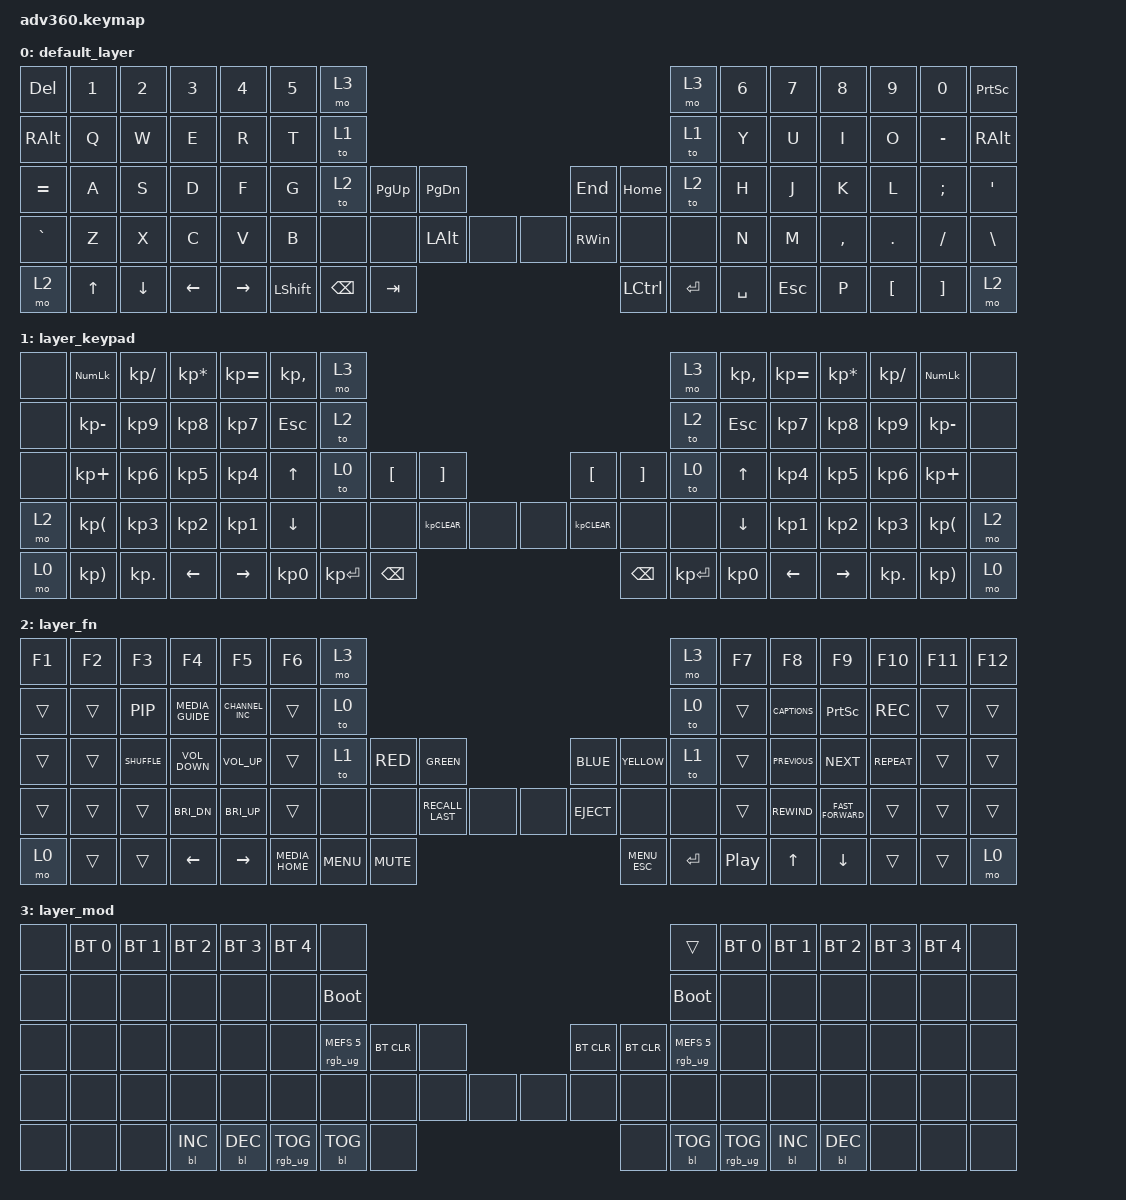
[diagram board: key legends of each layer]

/*
 * Copyright (c) 2020 The ZMK Contributors
 *
 * SPDX-License-Identifier: MIT
 */


/* THIS FILE WAS GENERATED!
 *
 * This file was generated automatically. You may or may not want to
 * edit it directly.
 */

#include <behaviors.dtsi>
#include <dt-bindings/zmk/keys.h>
#include <dt-bindings/zmk/bt.h>
#include <dt-bindings/zmk/rgb.h>
#include <dt-bindings/zmk/backlight.h>

/ {
  behaviors {
    #include "macros.dtsi"

    hm: homerow_mods {
        compatible = "zmk,behavior-hold-tap";
        label = "HOMEROW_MODS";
        #binding-cells = <2>;
        tapping-term-ms = <200>;
        quick_tap_ms = <175>;
        flavor = "tap-preferred";
        bindings = <&kp>, <&kp>;
    };
  };

    keymap {
        compatible = "zmk,keymap";


        default_layer {
            bindings = <
 &kp DELETE  &kp N1    &kp N2    &kp N3     &kp N4  &kp N5                     &mo 3                                                                               &mo 3  &kp N6      &kp N7     &kp N8    &kp N9     &kp N0   &kp PRINTSCREEN
   &kp RALT   &kp Q     &kp W     &kp E      &kp R   &kp T                     &to 1                                                                               &to 1   &kp Y       &kp U      &kp I     &kp O  &kp MINUS          &kp RALT
  &kp EQUAL   &kp A     &kp S     &kp D      &kp F   &kp G                     &to 2  &kp PAGE_UP  &kp PAGE_DOWN                           &kp END   &kp HOME      &to 2   &kp H       &kp J      &kp K     &kp L   &kp SEMI  &kp SINGLE_QUOTE
  &kp GRAVE   &kp Z     &kp X     &kp C      &kp V   &kp B                     &none        &none   &kp LEFT_ALT   &none   &none     &kp RIGHT_WIN      &none      &none   &kp N       &kp M  &kp COMMA   &kp DOT  &kp SLASH     &kp BACKSLASH
      &mo 2  &kp UP  &kp DOWN  &kp LEFT  &kp RIGHT                    &kp LEFT_SHIFT     &kp BSPC        &kp TAB                  &kp LEFT_CONTROL  &kp ENTER  &kp SPACE          &kp ESCAPE      &kp P  &kp LBKT   &kp RBKT             &mo 2
            >;
        };

        layer_keypad {
            bindings = <
  &none    &kp KP_NUM  &kp KP_SLASH  &kp KP_MULTIPLY  &kp KP_EQUAL  &kp KP_COMMA                      &mo 3                                                                                                &mo 3  &kp KP_COMMA  &kp KP_EQUAL  &kp KP_MULTIPLY  &kp KP_SLASH    &kp KP_NUM   &none
  &none  &kp KP_MINUS     &kp KP_N9        &kp KP_N8     &kp KP_N7       &kp ESC                      &to 2                                                                                                &to 2       &kp ESC     &kp KP_N7        &kp KP_N8     &kp KP_N9  &kp KP_MINUS   &none
  &none   &kp KP_PLUS     &kp KP_N6        &kp KP_N5     &kp KP_N4        &kp UP                      &to 0  &kp LEFT_BRACKET  &kp RIGHT_BRACKET                  &kp LEFT_BRACKET  &kp RIGHT_BRACKET      &to 0        &kp UP     &kp KP_N4        &kp KP_N5     &kp KP_N6   &kp KP_PLUS   &none
  &mo 2   &kp KP_LPAR     &kp KP_N3        &kp KP_N2     &kp KP_N1      &kp DOWN                      &none             &none       &kp KP_CLEAR   &none   &none      &kp KP_CLEAR              &none      &none      &kp DOWN     &kp KP_N1        &kp KP_N2     &kp KP_N3   &kp KP_LPAR   &mo 2
  &mo 0   &kp KP_RPAR    &kp KP_DOT         &kp LEFT     &kp RIGHT                          &kp KP_NUMBER_0      &kp KP_ENTER           &kp BSPC                     &kp BACKSPACE       &kp KP_ENTER  &kp KP_N0                    &kp LEFT        &kp RIGHT    &kp KP_DOT   &kp KP_RPAR   &mo 0
            >;
        };

        layer_fn {
            bindings = <
 &kp F1  &kp F2         &kp F3             &kp F4             &kp F5  &kp F6                       &mo 3                                                                                          &mo 3  &kp F7          &kp F8              &kp F9       &kp F10  &kp F11  &kp F12
 &trans  &trans      &kp C_PIP  &kp C_MEDIA_GUIDE  &kp C_CHANNEL_INC  &trans                       &to 0                                                                                          &to 0  &trans  &kp C_CAPTIONS     &kp PRINTSCREEN     &kp C_REC   &trans   &trans
 &trans  &trans  &kp C_SHUFFLE  &kp C_VOLUME_DOWN       &kp C_VOL_UP  &trans                       &to 1   &kp C_RED        &kp C_GREEN                      &kp C_BLUE  &kp C_YELLOW             &to 1  &trans  &kp C_PREVIOUS          &kp C_NEXT  &kp C_REPEAT   &trans   &trans
 &trans  &trans         &trans       &kp C_BRI_DN       &kp C_BRI_UP  &trans                       &none       &none  &kp C_RECALL_LAST   &none   &none     &kp C_EJECT         &none             &none  &trans    &kp C_REWIND  &kp C_FAST_FORWARD        &trans   &trans   &trans
  &mo 0  &trans         &trans           &kp LEFT          &kp RIGHT                    &kp C_MEDIA_HOME  &kp C_MENU         &kp C_MUTE                  &kp C_MENU_ESC     &kp ENTER  &kp C_PLAY_PAUSE                  &kp UP            &kp DOWN        &trans   &trans    &mo 0
            >;
        };

        layer_mod {
            bindings = <
  &none  &bt BT_SEL 0  &bt BT_SEL 1  &bt BT_SEL 2  &bt BT_SEL 3  &bt BT_SEL 4                             &none                                                                              &trans  &bt BT_SEL 0  &bt BT_SEL 1  &bt BT_SEL 2  &bt BT_SEL 3  &bt BT_SEL 4   &none
  &none         &none         &none         &none         &none         &none                       &bootloader                                                                         &bootloader         &none         &none         &none         &none         &none   &none
  &none         &none         &none         &none         &none         &none            &rgb_ug RGB_MEFS_CMD 5  &bt BT_CLR   &none                  &bt BT_CLR  &bt BT_CLR  &rgb_ug RGB_MEFS_CMD 5         &none         &none         &none         &none         &none   &none
  &none         &none         &none         &none         &none         &none                             &none       &none   &none   &none   &none       &none       &none                   &none         &none         &none         &none         &none         &none   &none
  &none         &none         &none    &bl BL_INC    &bl BL_DEC                                 &rgb_ug RGB_TOG  &bl BL_TOG   &none                       &none  &bl BL_TOG         &rgb_ug RGB_TOG                  &bl BL_INC    &bl BL_DEC         &none         &none   &none
            >;
        };

    };
};
